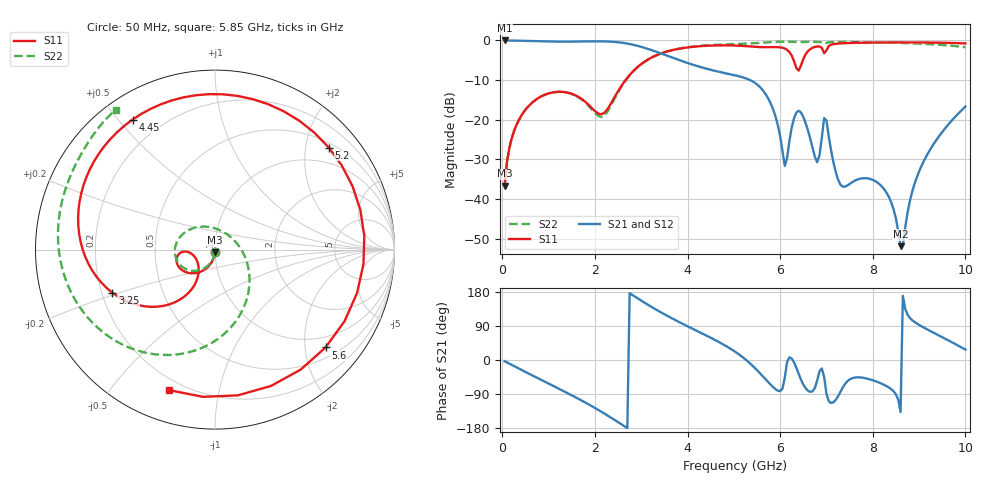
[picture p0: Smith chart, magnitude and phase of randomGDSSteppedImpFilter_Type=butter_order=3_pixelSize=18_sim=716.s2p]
! freq	dB(S11)	phase(S11)	dB(S12)	phase(S12)
!  dB(S21)	phase(S21)	dB(S22)	phase(S22)
!S-par simulation data
#  GHz  S  DB  R 50
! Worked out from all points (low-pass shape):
!   200 points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, 50 MHz to 10 GHz, reference 50 ohm
!   highest |S21| = -0.02 dB at 50 MHz (marker M1); lowest = -51.8 dB at 8.6 GHz (marker M2)
!   |S21| within 3 dB of the highest: start of sweep to 3.362 GHz
!   lowest |S11| = -36.6 dB at 50 MHz (marker M3), VSWR 1.03, Z = 50 - j1.48 ohm
!   |S11| at or under -10 dB: start of sweep to 2.661 GHz
!   |S22| runs from -36.6 to -0.3 dB; largest |S21 - S12| = 0
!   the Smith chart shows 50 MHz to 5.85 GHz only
!   S11 on the Smith chart (normalised r, x): 50 MHz: 1.00, -0.03; 3.25 GHz: 0.24, -0.19; 4.45 GHz: 0.10, +0.55; 5.2 GHz: 0.60, +2.49; 5.6 GHz: 0.73, -2.45; 5.85 GHz: 0.15, -0.71
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0.05  -36.61 -89.2  -0.02 -3.2  -0.02 -3.2  -36.62 -89.6
0.55  -16.77 -122.5  -0.14 -34.6  -0.14 -34.6  -16.79 -127.3
1.75  -15.08 -176.3  -0.27 -109.4  -0.27 -109.4  -15.21 137.7
2.55  -11.86 -120.5  -0.53 -167.9  -0.53 -167.9  -12.10 -39.2
3.25  -4.15 -157.1  -2.56 138.0  -2.56 138.0  -4.19 -109.2
3.4  -3.39 -167.0  -3.18 127.5  -3.18 127.5  -3.41 -120.3
4.45  -1.33 122.4  -7.26 61.9  -7.26 61.9  -1.22 -178.9
5.05  -1.30 63.6  -8.87 20.0  -8.87 20.0  -0.91 156.2
5.2  -1.40 41.9  -9.33 6.5  -9.33 6.5  -0.85 150.5
5.6  -1.70 -41.5  -12.21 -39.6  -12.21 -39.6  -0.59 135.5
5.85  -1.68 -108.2  -17.45 -71.7  -17.45 -71.7  -0.40 125.2
6.1  -2.05 -178.2  -31.60 -46.4  -31.60 -46.4  -0.32 114.4
6.25  -3.83 122.9  -21.96 3.8  -21.96 3.8  -0.35 107.9
6.4  -7.61 -3.6  -17.72 -36.6  -17.72 -36.6  -0.42 101.9
6.5  -4.69 -86.3  -19.28 -64.8  -19.28 -64.8  -0.40 97.9
6.7  -1.86 -154.3  -27.04 -82.6  -27.04 -82.6  -0.37 89.3
6.95  -3.21 166.1  -19.58 -45.0  -19.58 -45.0  -0.70 77.9
7.3  -0.75 142.3  -36.31 -84.5  -36.31 -84.5  -0.40 63.3
8.35  -0.52 80.2  -39.50 -72.7  -39.50 -72.7  -0.57 9.4
8.6  -0.51 68.1  -51.84 -137.4  -51.84 -137.4  -0.65 -5.3
9.05  -0.52 46.9  -31.67 89.1  -31.67 89.1  -0.84 -34.0
10  -0.76 3.5  -16.66 27.5  -16.66 27.5  -1.71 -108.3
